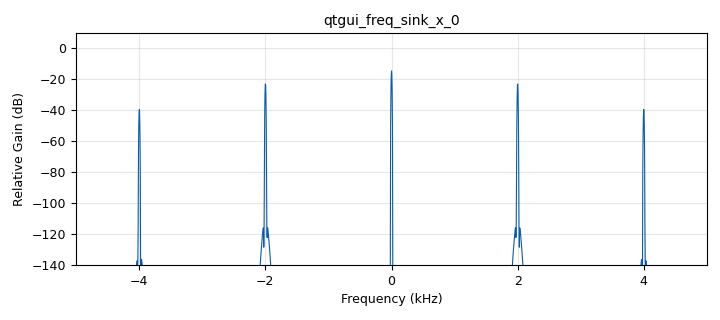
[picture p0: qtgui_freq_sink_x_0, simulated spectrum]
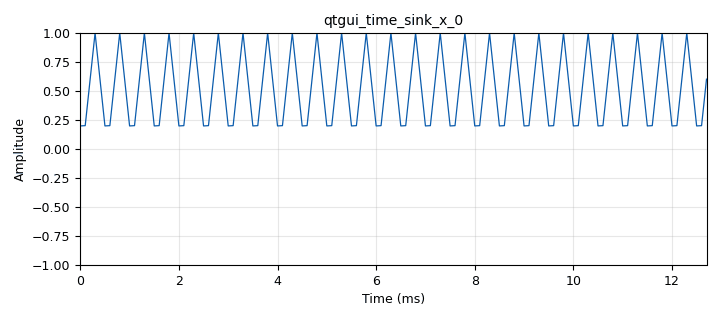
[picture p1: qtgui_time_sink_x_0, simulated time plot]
options:
  parameters:
    author: Gomez_Robert_Beltran_Diego_C1A_G1
    generate_options: qt_gui
    id: lab1_parteb
    output_language: python
    title: Lab1_parteb
  states: {}

blocks:
- name: freq
  id: variable_qtgui_range
  parameters:
    label: frequency
    start: '1000'
    step: '1000'
    stop: '40000'
    value: '2000'
  states: {}
- name: samp_rate
  id: variable
  parameters:
    value: '30000'
  states: {state: disabled}
- name: samp_rate
  id: variable_qtgui_range
  parameters:
    label: frecuencia de muestreo
    start: '1000'
    step: '1000'
    stop: '80000'
    value: '10000'
  states: {}
- name: analog_sig_source_x_0
  id: analog_sig_source_x
  parameters:
    amp: '1'
    freq: freq
    offset: '0'
    phase: '0'
    samp_rate: samp_rate
    type: float
    waveform: analog.GR_TRI_WAVE
  states: {}
- name: blocks_throttle_0
  id: blocks_throttle
  parameters:
    samples_per_second: samp_rate
    type: float
  states: {}
- name: qtgui_freq_sink_x_0
  id: qtgui_freq_sink_x
  parameters:
    bw: samp_rate
    fc: '0'
    fftsize: '2048'
    type: float
  states: {}
- name: qtgui_time_sink_x_0
  id: qtgui_time_sink_x
  parameters:
    size: '128'
    srate: samp_rate
    type: float
  states: {}

connections:
- [analog_sig_source_x_0, '0', blocks_throttle_0, '0']
- [blocks_throttle_0, '0', qtgui_freq_sink_x_0, '0']
- [blocks_throttle_0, '0', qtgui_time_sink_x_0, '0']

metadata:
  file_format: 1
  grc_version: 3.9.8.0
